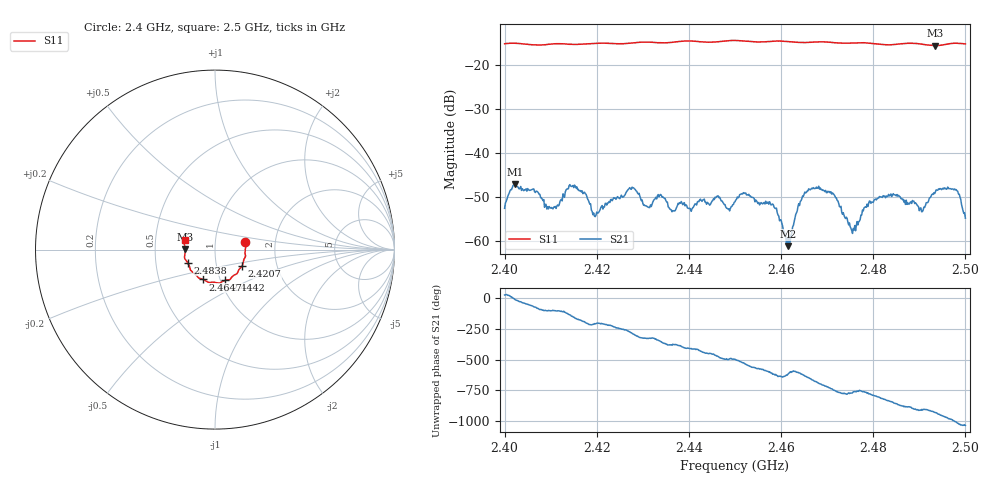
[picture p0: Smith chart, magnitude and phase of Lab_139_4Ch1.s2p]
# Hz S RI R
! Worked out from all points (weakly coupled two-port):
!   601 points, 2.4 GHz to 2.5 GHz, reference 50 ohm
!   highest |S21| = -47.20 dB at 2.4023 GHz (marker M1); lowest = -61.2 dB at 2.4615 GHz (marker M2)
!   lowest |S11| = -15.6 dB at 2.4935 GHz (marker M3), VSWR 1.40, Z = 35.8 + j0.137 ohm
!   |S11| at or under -10 dB: start of sweep to end of sweep
!   S12 and S22 are empty: the file has one direction only
!   S11 on the Smith chart (normalised r, x): 2.4 GHz: 1.40, +0.11; 2.4207 GHz: 1.33, -0.24; 2.4442 GHz: 1.05, -0.37; 2.4647 GHz: 0.83, -0.29; 2.4838 GHz: 0.73, -0.11; 2.5 GHz: 0.71, +0.08
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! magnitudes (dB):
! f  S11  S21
! 2.4 GHz  -15.2  -52.6
! 2.4023 GHz  -15.1  -47.2
! 2.41 GHz  -15.3  -52.6
! 2.4167 GHz  -15.3  -48.9
! 2.4207 GHz  -15.1  -53.1
! 2.4275 GHz  -15.1  -48.3
! 2.431 GHz  -14.8  -52.3
! 2.4333 GHz  -15.0  -49.5
! 2.4442 GHz  -14.9  -51.4
! 2.45 GHz  -14.5  -51.1
! 2.458 GHz  -14.7  -51.7
! 2.4615 GHz  -14.7  -61.2
! 2.4647 GHz  -14.9  -49.8
! 2.4667 GHz  -14.9  -48.1
! 2.4713 GHz  -14.9  -49.3
! 2.4757 GHz  -15.0  -57.2
! 2.4833 GHz  -15.5  -49.5
! 2.4838 GHz  -15.4  -49.4
! 2.4905 GHz  -15.3  -53.4
! 2.4935 GHz  -15.6  -48.8
! 2.4978 GHz  -15.1  -48.4
! 2.5 GHz  -15.2  -54.9
